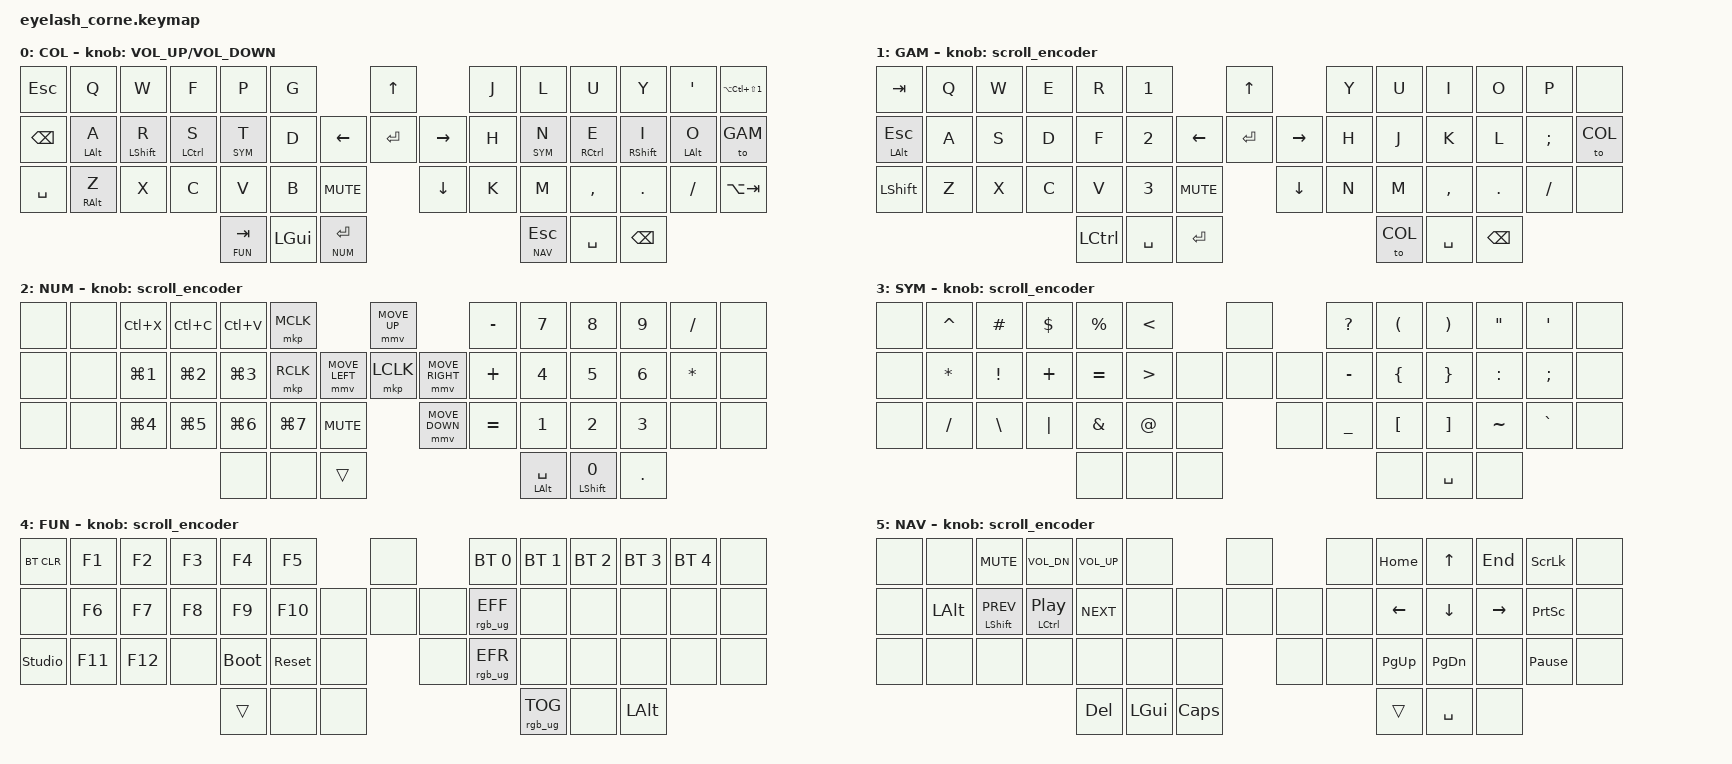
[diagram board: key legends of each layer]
#define ZMK_POINTING_DEFAULT_MOVE_VAL 1200  // 600
#define ZMK_POINTING_DEFAULT_SCRL_VAL 25   // 10

#define COL 0
#define GAM 1
#define NUM 2
#define SYM 3
#define FUN 4
#define NAV 5

#include <input/processors.dtsi>
#include <zephyr/dt-bindings/input/input-event-codes.h>
#include <behaviors.dtsi>
#include <dt-bindings/zmk/bt.h>
#include <dt-bindings/zmk/ext_power.h>
#include <dt-bindings/zmk/keys.h>
#include <dt-bindings/zmk/outputs.h>
#include <dt-bindings/zmk/pointing.h>
#include <dt-bindings/zmk/rgb.h>

&mmv_input_listener { input-processors = <&zip_xy_scaler 2 1>; };

&msc_input_listener { input-processors = <&zip_scroll_scaler 2 1>; };

&mt {
    tapping-term-ms = <200>;
	flavor = "tap-preferred";
};

&lt {
    tapping-term-ms = <200>;
	flavor = "tap-preferred";
};

&msc {
    acceleration-exponent = <1>;      // 0
    time-to-max-speed-ms = <100>;       // 300
    delay-ms = <0>;                   // 0
};

&mmv {
    time-to-max-speed-ms = <500>;
    acceleration-exponent = <1>;
    trigger-period-ms = <16>;
};


/ {
    rgb_encoder: rgb_encoder {
        compatible = "zmk,behavior-sensor-rotate";
        #sensor-binding-cells = <0>;
        bindings = <&rgb_ug RGB_BRI>, <&rgb_ug RGB_BRD>;
    };

    scroll_encoder: scroll_encoder {
        compatible = "zmk,behavior-sensor-rotate";
        #sensor-binding-cells = <0>;
        bindings = <&msc SCRL_DOWN>, <&msc SCRL_UP>;
        tap-ms = <100>;
    };

    keymap {
        compatible = "zmk,keymap";

			colemak {
				display-name = "COL";
				bindings = <
&kp ESC   &kp Q      &kp W       &kp F       &kp P       &kp G					 &kp UP					&kp J &kp L     &kp U       &kp Y       &kp SQT   &kp LA(LC(LS(N1)))
&kp BSPC  &mt LALT A &mt LSHFT R &mt LCTRL S &lt SYM T   &kp D			&kp LEFT &kp ENTER &kp RIGHT	&kp H &lt SYM N &mt RCTRL E &mt RSHFT I &mt LALT O &to GAM
&kp SPACE &mt RALT Z &kp X       &kp C       &kp V       &kp B		&kp C_MUTE	 &kp DOWN				&kp K &kp M     &kp COMMA   &kp DOT     &kp FSLH   &kp LA(TAB)
										&lt FUN TAB &kp LGUI &lt NUM RET										&lt NAV ESC &kp SPACE   &kp BSPC
				>;
				sensor-bindings = <&inc_dec_kp C_VOLUME_UP C_VOLUME_DOWN>;
			};

			games {
				display-name = "GAM";
				bindings = <
&kp TAB		 &kp Q &kp W &kp E &kp R &kp N1					 &kp UP					&kp Y &kp U &kp I     &kp O   &kp P    &none
&mt LALT ESC &kp A &kp S &kp D &kp F &kp N2			&kp LEFT &kp ENTER &kp RIGHT	&kp H &kp J &kp K     &kp L   &kp SEMI &to COL
&kp LSHFT	 &kp Z &kp X &kp C &kp V &kp N3		&kp C_MUTE	 &kp DOWN				&kp N &kp M &kp COMMA &kp DOT &kp FSLH &none
				  &kp LCTRL &kp SPACE &kp RET										&to COL &kp SPACE   &kp BSPC
				>;
				sensor-bindings = <&scroll_encoder>;
			};

			numbers {
				display-name = "NUM";
				bindings = <
&none  &none &kp LC(X)  &kp LC(C)  &kp LC(V)  &mkp MCLK						&mmv MOVE_UP				&kp MINUS &kp N7 &kp N8 &kp N9 &kp FSLH &none
&none  &none &kp LG(N1) &kp LG(N2) &kp LG(N3) &mkp RCLK	     &mmv MOVE_LEFT &mkp LCLK &mmv MOVE_RIGHT	&kp PLUS  &kp N4 &kp N5 &kp N6 &kp STAR &none
&none  &none &kp LG(N4) &kp LG(N5) &kp LG(N6) &kp LG(N7)		&kp C_MUTE	&mmv MOVE_DOWN				&kp EQUAL &kp N1 &kp N2 &kp N3 &none    &none
					  &none &none &trans																&mt LALT SPACE &mt LSHIFT N0 &kp DOT
				>;
				sensor-bindings = <&scroll_encoder>;
			};



			symbols {
				display-name = "SYM";
				bindings = <
&none &kp CARET &kp HASH &kp DLLR &kp PRCNT &kp LT					&none			&kp QMARK &kp LPAR &kp RPAR &kp DQT   &kp SQT   &none
&none &kp STAR  &kp EXCL &kp PLUS &kp EQUAL &kp GT			  &none &none &none		&kp MINUS &kp LBRC &kp RBRC &kp COLON &kp SEMI  &none
&none &kp FSLH  &kp BSLH &kp PIPE &kp AMPS  &kp AT			&none	&none			&kp UNDER &kp LBKT &kp RBKT &kp TILDE &kp GRAVE &none
						&none &none &none											&none &kp SPACE &none
				>;
				sensor-bindings = <&scroll_encoder>;
			};

			function {
				display-name = "FUN";
				bindings = <
&bt BT_CLR		&kp F1  &kp F2  &kp F3 &kp F4      &kp F5					&none			&bt BT_SEL 0 &bt BT_SEL 1 &bt BT_SEL 2 &bt BT_SEL 3 &bt BT_SEL 4 &none
&none			&kp F6  &kp F7  &kp F8 &kp F9      &kp F10			  &none &none &none		&rgb_ug RGB_EFF &none &none &none &none &none
&studio_unlock	&kp F11 &kp F12 &none  &bootloader &sys_reset		&none	&none			&rgb_ug RGB_EFR &none &none &none &none &none
						&trans &none &none													&rgb_ug RGB_TOG &none &kp LALT
				>;
				sensor-bindings = <&scroll_encoder>;
			};

			navigation {
				display-name = "NAV";
				bindings = <
&none &none    &kp C_MUTE       &kp C_VOL_DN   &kp C_VOL_UP &none			&none			&none    &kp HOME  &kp UP    &kp END    &kp SLCK        &none
&none &kp LALT &mt LSHFT C_PREV &mt LCTRL C_PP &kp C_NEXT   &none	  &none &none &none		&none    &kp LEFT  &kp DOWN  &kp RIGHT  &kp PSCRN       &none
&none &none    &none            &none          &none        &none	&none	&none			&none    &kp PG_UP &kp PG_DN &none      &kp PAUSE_BREAK &none
						&kp DEL &kp LGUI &kp CAPS											&trans &kp SPACE &none
				>;
				sensor-bindings = <&scroll_encoder>;
			};
    };
};
